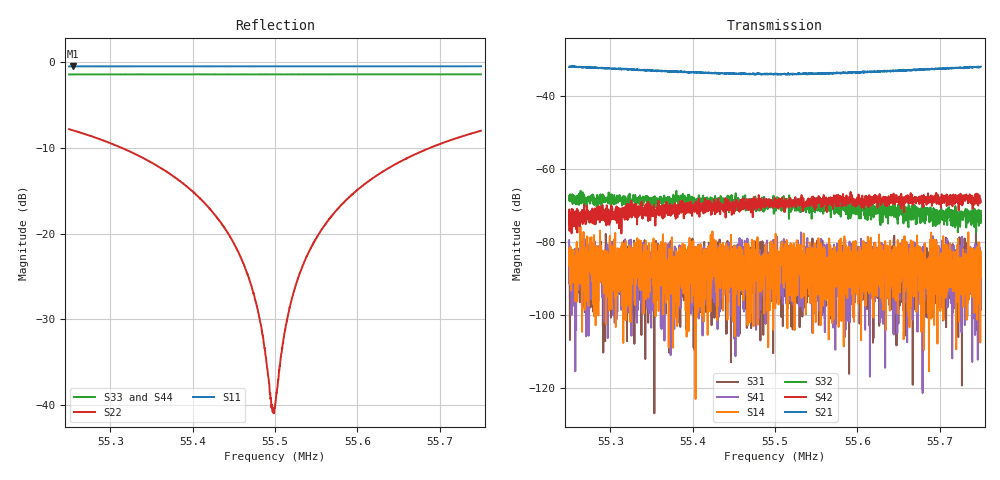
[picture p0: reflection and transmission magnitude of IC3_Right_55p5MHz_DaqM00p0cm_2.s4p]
#  HZ  S  DB  R  50.00
! Rohde & Schwarz Vector Network Analyzer
! Rohde-Schwarz,ZNB8-4Port,1311601044102961,2.82
! Created: UTC 2/13/2019, 11:45:10 AM
! freq[Hz]  db:S11  ang:S11  db:S12  ang:S12  db:S13  ang:S13  db:S14  ang:S14
!  db:S21  ang:S21  db:S22  ang:S22  db:S23  ang:S23  db:S24  ang:S24
!  db:S31  ang:S31  db:S32  ang:S32  db:S33  ang:S33  db:S34  ang:S34
!  db:S41  ang:S41  db:S42  ang:S42  db:S43  ang:S43  db:S44  ang:S44
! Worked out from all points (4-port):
!   2001 points, 55.25 MHz to 55.75 MHz, reference 50 ohm
!   strongest paths, dB at 55.25 MHz, 55.375 MHz, 55.5 MHz, 55.625 MHz, 55.75 MHz:
!     S21: -31.9, -33.1, -33.7, -33.3, -31.8
!     S42: -75.0, -71.2, -68.3, -68.5, -68.9
!     S32: -67.3, -68.1, -69.3, -69.5, -71.5
!     S14: -83.9, -85.3, -84.2, -84.9, -86.2
!     S41: -79.4, -80.8, -83.5, -92.9, -94.3
!     S31: -89.2, -92.9, -82.7, -89.2, -84.0
!   lowest |S11| = -0.5 dB at 55.2548 MHz (marker M1), VSWR 36.13, Z = 2.45 + j43.9 ohm
!   |S11| at or under -10 dB: nowhere
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5.525e7  -0.48 97.4  -31.72 74.7  -80.96 44.8  -83.88 28.0
         -31.89 74.9  -7.81 -168.9  -68.58 179.8  -71.96 -32.1
         -89.23 -69.4  -67.31 176.1  -1.41 24.7  -94.55 29.5
         -79.45 -172.8  -75.04 -13.3  -85.22 90.4  -1.43 31.2
5.525475e7  -0.48 97.3  -31.69 74.8  -79.47 160.3  -87.46 -40.9
            -31.81 74.2  -7.94 -169.6  -68.05 -178.0  -72.10 -25.2
            -85.51 62.7  -69.30 -175.9  -1.41 24.7  -97.88 97.7
            -82.87 -54.2  -71.05 -40.6  -92.34 139.5  -1.43 31.2
5.5435e7  -0.46 93.9  -33.61 78.2  -78.65 -41.9  -85.87 -95.7
          -33.58 78.6  -18.83 162.8  -69.92 160.5  -69.31 -63.0
          -98.22 -55.3  -68.78 154.8  -1.40 22.4  -98.89 107.4
          -88.26 -50.2  -69.91 -54.4  -99.24 -87.4  -1.42 29.0
5.5498e7  -0.46 92.7  -33.88 82.7  -85.32 29.5  -80.79 17.2
          -33.82 83.5  -40.56 -124.3  -68.85 143.1  -69.22 -61.7
          -99.67 88.7  -69.23 138.1  -1.40 21.7  -93.66 164.2
          -79.33 -45.7  -70.52 -68.8  -97.10 -79.8  -1.42 28.2
5.552325e7  -0.46 92.3  -33.77 84.8  -94.28 101.3  -90.30 -125.0
            -33.75 85.0  -26.62 -48.5  -68.63 142.5  -69.72 -70.1
            -88.69 -129.0  -68.40 140.8  -1.40 21.3  -89.08 92.0
            -98.11 -157.7  -69.98 -63.9  -93.13 125.9  -1.42 27.9
5.55645e7  -0.46 91.6  -33.71 88.6  -84.35 -36.9  -88.26 111.9
           -33.51 88.6  -18.48 -49.3  -69.50 135.4  -67.93 -67.2
           -83.61 67.7  -71.26 143.9  -1.40 20.8  -87.97 34.9
           -83.53 23.5  -69.25 -68.7  -90.34 130.8  -1.42 27.4
5.575e7  -0.46 88.1  -31.83 92.1  -95.01 137.1  -86.16 129.4
         -31.80 91.6  -7.99 -77.1  -72.95 106.7  -67.76 -97.3
         -84.02 31.5  -71.46 139.8  -1.40 18.5  -90.73 -144.8
         -94.30 -111.9  -68.92 -93.6  -85.46 66.8  -1.41 25.1
